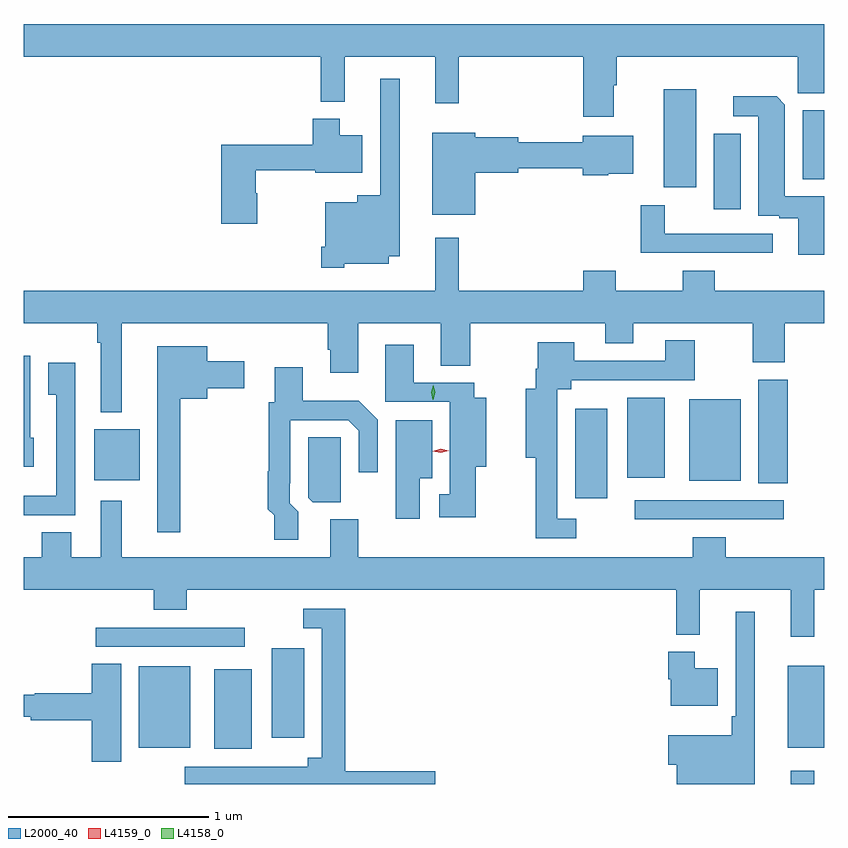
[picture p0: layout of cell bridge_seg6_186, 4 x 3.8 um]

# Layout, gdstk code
import gdstk
lib = gdstk.Library(unit=1e-6, precision=1e-09)
def R(c, l, rs):  # rectangles x0, y0, x1, y1
    for r in rs: c.add(gdstk.rectangle(r[:2], r[2:], *l))
def P(c, l, *ps):  # polygons
    for p in ps: c.add(gdstk.Polygon(p, *l))
L2000_40 = (2000, 40)
L4158_0 = (4158, 0)
L4159_0 = (4159, 0)

bridge_seg6_186 = lib.new_cell('bridge_seg6_186')
R(bridge_seg6_186, L2000_40, [(264.968,917.062,265.085,917.128), (262.088,917.237,262.276,917.635), (261.71,917.243,261.967,917.65), (264.953,917.243,265.136,917.653), (262.376,917.292,262.537,917.74), (261.495,917.748,262.24,917.844), (264.189,918.384,264.934,918.48), (263.891,918.489,264.052,918.937), (264.806,918.565,264.953,919.081), (264.461,918.578,264.718,918.985), (261.488,918.581,261.715,918.835), (264.152,918.593,264.34,918.991), (264.584,919.935,264.718,920.311), (264.335,920.043,264.496,920.533), (265.028,920.083,265.136,920.428)])
P(bridge_seg6_186, L2000_40, [(264.085,920.555),(264.098,920.555),(264.098,920.696),(265.003,920.696),(265.003,920.514),(265.136,920.514),(265.136,920.86),(261.136,920.86),(261.136,920.696),(262.621,920.696),(262.621,920.471),(262.739,920.471),(262.739,920.696),(263.192,920.696),(263.192,920.463),(263.309,920.463),(263.309,920.696),(263.933,920.696),(263.933,920.397),(264.085,920.397)],
  [(262.737,919.661),(262.96,919.661),(262.96,919.7),(263.014,919.7),(263.014,920.587),(262.917,920.587),(262.917,920.005),(262.802,920.005),(262.802,919.969),(262.643,919.969),(262.643,919.747),(262.622,919.747),(262.622,919.643),(262.737,919.643)],
  [(265.136,919.998),(264.94,919.998),(264.94,920.456),(264.898,920.498),(264.681,920.498),(264.681,920.4),(264.806,920.4),(264.806,919.902),(264.911,919.902),(264.911,919.89),(265.007,919.89),(265.007,919.707),(265.136,919.707)],
  [(262.302,920.013),(262.294,920.013),(262.294,920.128),(262.592,920.128),(262.592,920.117),(262.828,920.117),(262.828,920.305),(262.714,920.305),(262.714,920.386),(262.58,920.386),(262.58,920.257),(262.124,920.257),(262.124,919.863),(262.302,919.863)],
  [(263.392,920.117),(263.608,920.117),(263.608,920.14),(263.93,920.14),(263.93,920.104),(264.056,920.104),(264.056,920.111),(264.181,920.111),(264.181,920.302),(263.93,920.302),(263.93,920.269),(263.608,920.269),(263.608,920.295),(263.392,920.295),(263.392,920.317),(263.177,920.317),(263.177,919.907),(263.392,919.907)],
  [(264.88,919.812),(264.339,919.812),(264.339,919.954),(264.22,919.954),(264.22,919.716),(264.88,919.716)],
  [(261.625,919.364),(262.655,919.364),(262.655,919.231),(262.667,919.231),(262.667,919.116),(262.807,919.116),(262.807,919.364),(263.219,919.364),(263.219,919.153),(263.367,919.153),(263.367,919.364),(264.041,919.364),(264.041,919.265),(264.181,919.265),(264.181,919.364),(264.778,919.364),(264.778,919.17),(264.938,919.17),(264.938,919.364),(265.136,919.364),(265.136,919.528),(264.59,919.528),(264.59,919.627),(264.43,919.627),(264.43,919.528),(264.093,919.528),(264.093,919.627),(263.933,919.627),(263.933,919.528),(263.309,919.528),(263.309,919.792),(263.191,919.792),(263.191,919.528),(261.136,919.528),(261.136,919.364),(261.504,919.364),(261.504,919.268),(261.521,919.268),(261.521,918.92),(261.625,918.92)],
  [(263.896,918.387),(263.802,918.387),(263.802,918.796),(263.803,918.796),(263.803,919.034),(263.872,919.034),(263.872,919.08),(264.489,919.08),(264.489,919.279),(264.341,919.279),(264.341,919.176),(263.887,919.176),(263.887,919.27),(263.705,919.27),(263.705,919.138),(263.694,919.138),(263.694,919.036),(263.645,919.036),(263.645,918.692),(263.694,918.692),(263.694,918.291),(263.896,918.291)],
  [(263.394,918.647),(263.446,918.647),(263.446,918.991),(263.386,918.991),(263.386,919.068),(263.086,919.068),(263.086,919.258),(262.943,919.258),(262.943,918.972),(263.264,918.972),(263.264,918.509),(263.211,918.509),(263.211,918.396),(263.394,918.396)],
  [(261.917,918.986),(262.054,918.986),(262.054,919.04),(262.237,919.04),(262.237,919.174),(262.054,919.174),(262.054,919.249),(261.803,919.249),(261.803,918.321),(261.917,918.321)],
  [(261.187,918.792),(261.169,918.792),(261.169,919.201),(261.136,919.201),(261.136,918.648),(261.187,918.648)],
  [(261.163,918.405),(261.393,918.405),(261.393,919.168),(261.257,919.168),(261.257,919.007),(261.297,919.007),(261.297,918.502),(261.136,918.502),(261.136,918.404),(261.163,918.404)],
  [(262.507,918.422),(262.464,918.465),(262.464,918.565),(262.467,918.565),(262.467,918.879),(262.758,918.879),(262.809,918.828),(262.809,918.621),(262.905,918.621),(262.905,918.882),(262.811,918.976),(262.531,918.976),(262.531,919.144),(262.391,919.144),(262.391,918.969),(262.359,918.969),(262.359,918.626),(262.356,918.626),(262.356,918.436),(262.387,918.405),(262.387,918.282),(262.507,918.282)],
  [(263.116,918.59),(263.176,918.59),(263.176,918.88),(262.994,918.88),(262.994,918.387),(263.116,918.387)],
  [(262.72,918.683),(262.719,918.683),(262.719,918.794),(262.557,918.794),(262.557,918.492),(262.581,918.469),(262.72,918.469)],
  [(265.085,918.032),(265.136,918.032),(265.136,918.196),(264.644,918.196),(264.644,918.295),(264.479,918.295),(264.479,918.196),(262.807,918.196),(262.807,918.384),(262.667,918.384),(262.667,918.196),(261.625,918.196),(261.625,918.478),(261.521,918.478),(261.521,918.196),(261.373,918.196),(261.373,918.32),(261.226,918.32),(261.226,918.196),(261.136,918.196),(261.136,918.032),(261.785,918.032),(261.785,917.933),(261.95,917.933),(261.95,918.032),(264.397,918.032),(264.397,917.807),(264.515,917.807),(264.515,918.032),(264.968,918.032),(264.968,917.799),(265.085,917.799)],
  [(263.191,917.126),(262.742,917.126),(262.742,917.937),(262.533,917.937),(262.533,917.841),(262.626,917.841),(262.626,917.194),(262.556,917.194),(262.556,917.148),(261.94,917.148),(261.94,917.062),(263.191,917.062)],
  [(264.79,917.923),(264.693,917.923),(264.693,917.401),(264.673,917.401),(264.673,917.305),(264.356,917.305),(264.356,917.158),(264.4,917.158),(264.4,917.062),(264.79,917.062)],
  [(264.604,917.641),(264.49,917.641),(264.49,917.722),(264.356,917.722),(264.356,917.586),(264.368,917.586),(264.368,917.453),(264.604,917.453)],
  [(261.622,917.663),(261.476,917.663),(261.476,917.516),(261.192,917.516),(261.192,917.509),(261.136,917.509),(261.136,917.399),(261.172,917.399),(261.172,917.38),(261.476,917.38),(261.476,917.172),(261.622,917.172)])
P(bridge_seg6_186, L4158_0, [(263.18,918.983),(263.171,919.019),(263.181,919.055),(263.181,919.055),(263.181,919.055),(263.191,919.019),(263.181,918.983),(263.181,918.983)])
P(bridge_seg6_186, L4159_0, [(263.22,918.717),(263.18,918.725),(263.18,918.726),(263.18,918.726),(263.219,918.737),(263.259,918.728),(263.259,918.728),(263.259,918.727)])

lib.write_gds('bridge_seg6_186.gds')
